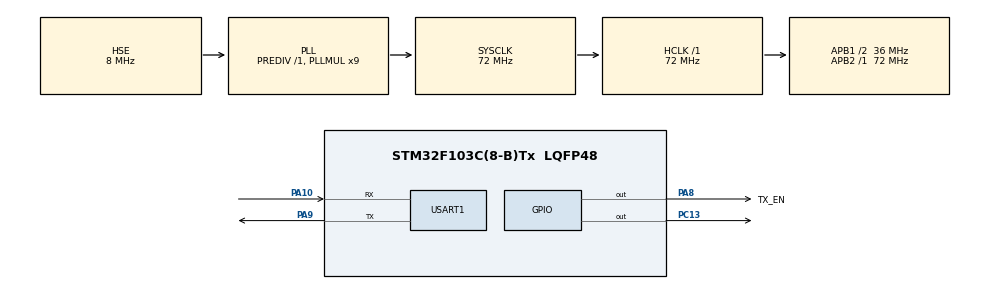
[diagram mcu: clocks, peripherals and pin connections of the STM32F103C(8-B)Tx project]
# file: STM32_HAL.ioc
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Mcu.Family=STM32F1
Mcu.Name=STM32F103C(8-B)Tx
Mcu.Package=LQFP48
NVIC.PriorityGroup=NVIC_PRIORITYGROUP_4
NVIC.USART1_IRQn=true\:0\:0\:false\:false\:true\:true\:true\:true
PA10.Mode=Asynchronous
PA10.Signal=USART1_RX
PA13.Mode=Serial_Wire
PA13.Signal=SYS_JTMS-SWDIO
PA14.Mode=Serial_Wire
PA14.Signal=SYS_JTCK-SWCLK
PA8.GPIO_Label=TX_EN
PA8.Signal=GPIO_Output
PA9.Mode=Asynchronous
PA9.Signal=USART1_TX
PC13-TAMPER-RTC.Signal=GPIO_Output
PD0-OSC_IN.Mode=HSE-External-Oscillator
PD0-OSC_IN.Signal=RCC_OSC_IN
PD1-OSC_OUT.Mode=HSE-External-Oscillator
PD1-OSC_OUT.Signal=RCC_OSC_OUT
ProjectManager.HeapSize=0x200
ProjectManager.StackSize=0x400
ProjectManager.TargetToolchain=STM32CubeIDE
RCC.AHBFreq_Value=72000000
RCC.APB1CLKDivider=RCC_HCLK_DIV2
RCC.APB1Freq_Value=36000000
RCC.APB1TimFreq_Value=72000000
RCC.APB2Freq_Value=72000000
RCC.APB2TimFreq_Value=72000000
RCC.HCLKFreq_Value=72000000
RCC.PLLMUL=RCC_PLL_MUL9
RCC.PLLSourceVirtual=RCC_PLLSOURCE_HSE
RCC.SYSCLKFreq_VALUE=72000000
RCC.SYSCLKSource=RCC_SYSCLKSOURCE_PLLCLK
RCC.USBFreq_Value=72000000
USART1.VirtualMode=VM_ASYNC
board=custom

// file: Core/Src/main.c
/* USER CODE BEGIN Header */
/**
 ******************************************************************************
 * @file           : main.c
 * @brief          : Main program body
 ******************************************************************************
 * @attention
 *
 * Copyright (c) 2023 STMicroelectronics.
 * All rights reserved.
 *
 * This software is licensed under terms that can be found in the LICENSE file
 * in the root directory of this software component.
 * If no LICENSE file comes with this software, it is provided AS-IS.
 *
 ******************************************************************************
 */
/* USER CODE END Header */
#include "main.h"

/* USER CODE BEGIN Includes */
#include "modbus_crc.h"
/* USER CODE END Includes */

UART_HandleTypeDef huart1;

void SystemClock_Config(void);
static void MX_GPIO_Init(void);
static void MX_USART1_UART_Init(void);

/* USER CODE BEGIN 0 */
uint8_t RxData[32];
uint8_t TxData[8];

uint16_t Data[10];

void HAL_UARTEx_RxEventCallback(UART_HandleTypeDef *huart, uint16_t Size) {
	Data[0] = RxData[3] << 8 | RxData[4];
	Data[1] = RxData[5] << 8 | RxData[6];
	Data[2] = RxData[7] << 8 | RxData[8];
	Data[3] = RxData[9] << 8 | RxData[10];
	// Data[4] = RxData[11]<<8 | RxData[12];
}

void sendData(uint8_t *data) {
	HAL_GPIO_WritePin(TX_EN_GPIO_Port, TX_EN_Pin, GPIO_PIN_SET);
	HAL_UART_Transmit(&huart1, data, 8, 1000);
	HAL_GPIO_WritePin(TX_EN_GPIO_Port, TX_EN_Pin, GPIO_PIN_RESET);
}
/* USER CODE END 0 */

int main(void)
{

  /* MCU Configuration--------------------------------------------------------*/

  /* Reset of all peripherals, Initializes the Flash interface and the Systick. */
  HAL_Init();

  /* Configure the system clock */
  SystemClock_Config();

  /* Initialize all configured peripherals */
  MX_GPIO_Init();
  MX_USART1_UART_Init();
  /* USER CODE BEGIN 2 */

  HAL_UARTEx_ReceiveToIdle_IT(&huart1, RxData, 32);

	TxData[0] = 0x05; //slave address
	TxData[1] = 0x03; //Function code for Read Holding Registers
	//TxData[1] = 0x04; // Function code for Read Input Registers
	/*
	 * The function code 0x03 means we are reading Holding Registers
	 * The Register address ranges from 40001 - 50000
	 * The register address we input can range from 0-9999 (0x00-0x270F)
	 * Here 0 corresponds to the Address 40001 and 9999 corresponds to 50000
	 * Although we can only read 125 registers sequentially at once
	 */
	 TxData[2] = 0;
	TxData[3] = 0x04;
	//The Register address will be 00000000 00000100 = 4 + 40001 = 40005
//	TxData[2] = 0;
//	TxData[3] = 0x01;
	//The Register address will be 00000000 00000001 = 1 +30001 = 30002
	TxData[4] = 0;
	TxData[5] = 0x05;
	// no of registers to read will be 00000000 00000101 = 5 Registers = 10 Bytes
	uint16_t crc = crc16(TxData, 6);
	TxData[6] = crc&0xFF; //CRC LOW
	TxData[7] = (crc>>8)&0xFF; //CRC HIGH
	sendData(TxData);
  /* USER CODE END 2 */

  /* Infinite loop */
	while (1) {

	}
}

void SystemClock_Config(void)
{
  RCC_OscInitTypeDef RCC_OscInitStruct = {0};
  RCC_ClkInitTypeDef RCC_ClkInitStruct = {0};

  /** Initializes the RCC Oscillators according to the specified parameters
  * in the RCC_OscInitTypeDef structure.
  */
  RCC_OscInitStruct.OscillatorType = RCC_OSCILLATORTYPE_HSE;
  RCC_OscInitStruct.HSEState = RCC_HSE_ON;
  RCC_OscInitStruct.HSEPredivValue = RCC_HSE_PREDIV_DIV1;
  RCC_OscInitStruct.HSIState = RCC_HSI_ON;
  RCC_OscInitStruct.PLL.PLLState = RCC_PLL_ON;
  RCC_OscInitStruct.PLL.PLLSource = RCC_PLLSOURCE_HSE;
  RCC_OscInitStruct.PLL.PLLMUL = RCC_PLL_MUL9;
  if (HAL_RCC_OscConfig(&RCC_OscInitStruct) != HAL_OK)
  {
    Error_Handler();
  }

  /** Initializes the CPU, AHB and APB buses clocks
  */
  RCC_ClkInitStruct.ClockType = RCC_CLOCKTYPE_HCLK|RCC_CLOCKTYPE_SYSCLK
                              |RCC_CLOCKTYPE_PCLK1|RCC_CLOCKTYPE_PCLK2;
  RCC_ClkInitStruct.SYSCLKSource = RCC_SYSCLKSOURCE_PLLCLK;
  RCC_ClkInitStruct.AHBCLKDivider = RCC_SYSCLK_DIV1;
  RCC_ClkInitStruct.APB1CLKDivider = RCC_HCLK_DIV2;
  RCC_ClkInitStruct.APB2CLKDivider = RCC_HCLK_DIV1;

  if (HAL_RCC_ClockConfig(&RCC_ClkInitStruct, FLASH_LATENCY_2) != HAL_OK)
  {
    Error_Handler();
  }
}

static void MX_USART1_UART_Init(void)
{

  huart1.Instance = USART1;
  huart1.Init.BaudRate = 115200;
  huart1.Init.WordLength = UART_WORDLENGTH_8B;
  huart1.Init.StopBits = UART_STOPBITS_1;
  huart1.Init.Parity = UART_PARITY_NONE;
  huart1.Init.Mode = UART_MODE_TX_RX;
  huart1.Init.HwFlowCtl = UART_HWCONTROL_NONE;
  huart1.Init.OverSampling = UART_OVERSAMPLING_16;
  if (HAL_UART_Init(&huart1) != HAL_OK)
  {
    Error_Handler();
  }

}

static void MX_GPIO_Init(void)
{
  GPIO_InitTypeDef GPIO_InitStruct = {0};

  /* GPIO Ports Clock Enable */
  __HAL_RCC_GPIOC_CLK_ENABLE();
  __HAL_RCC_GPIOD_CLK_ENABLE();
  __HAL_RCC_GPIOA_CLK_ENABLE();

  /*Configure GPIO pin Output Level */
  HAL_GPIO_WritePin(GPIOC, GPIO_PIN_13, GPIO_PIN_RESET);

  /*Configure GPIO pin Output Level */
  HAL_GPIO_WritePin(TX_EN_GPIO_Port, TX_EN_Pin, GPIO_PIN_RESET);

  /*Configure GPIO pin : PC13 */
  GPIO_InitStruct.Pin = GPIO_PIN_13;
  GPIO_InitStruct.Mode = GPIO_MODE_OUTPUT_PP;
  GPIO_InitStruct.Pull = GPIO_NOPULL;
  GPIO_InitStruct.Speed = GPIO_SPEED_FREQ_LOW;
  HAL_GPIO_Init(GPIOC, &GPIO_InitStruct);

  /*Configure GPIO pin : TX_EN_Pin */
  GPIO_InitStruct.Pin = TX_EN_Pin;
  GPIO_InitStruct.Mode = GPIO_MODE_OUTPUT_PP;
  GPIO_InitStruct.Pull = GPIO_NOPULL;
  GPIO_InitStruct.Speed = GPIO_SPEED_FREQ_LOW;
  HAL_GPIO_Init(TX_EN_GPIO_Port, &GPIO_InitStruct);

}

void Error_Handler(void)
{
	__disable_irq();
	while (1) {
	}
}
